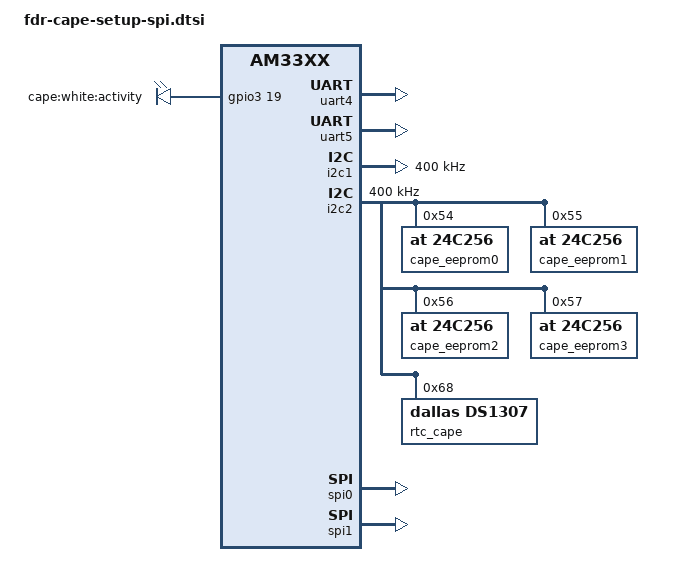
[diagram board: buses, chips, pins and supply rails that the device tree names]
#include "am33xx.dtsi"
#include "am335x-bone-common.dtsi"

&am33xx_pinmux {

		capeled_pins: pinmux_capeled_pins {
			pinctrl-single,pins = <
				0x1a4 0x7	/* gpio3_19 Cape led */
			>;
		};
		ctrl_pins: pinmux_ctrl_pins {
			pinctrl-single,pins = <
				0x3c  0xf	/* gpio1_15 Reset cards      | OUTPUT | NA | MODE7 */
				0x1ac 0xf	/* gpio3_21 Reset clock mcu  | OUTPUT | NA | MODE7 */
			>;
		};
		spi_cs_pins: pinmux_spi_cs_pins {
			pinctrl-single,pins = <
				0x48 0x17	/* gpio1_18 C0 | OUTPUT | PULLUP| MODE7 */
				0x4c 0x17	/* gpio1_19 C1 | OUTPUT | PULLUP| MODE7 */
				0x78 0x17	/* gpio1_28 C2 | OUTPUT | PULLUP| MODE7 */
			>;
		};
		timing_pins: pinmux_timing_pins {
			pinctrl-single,pins = <
				0x44 0x27	/* gpio1_17 sync in 100Hz   | INPUT  | PULLDOWN |   */
				0x40 0x3f	/* gpio1_16 1pps in         | INPUT  | EXT PULLUP | */
				0x34 0x7	/* gpio1_13 sync out 100 Hz | OUTPUT | PULLDOWN |   */
			>;
		};
		uart4_pins: pinmux_uart4_pins {
			pinctrl-single,pins = <
				0x070 0x26	/* gpmc_wait0.uart4_rxd | MODE6 */
				0x074 0x06	/* gpmc_wpn.uart4_txd | MODE6 */
			>;
		};
		uart5_pins: pinmux_uart5_pins {
			pinctrl-single,pins = <
				0x0C4 0x24	/* lcd_data9.uart5_rxd | MODE4 */
				0x0C0 0x04	/* lcd_data8.uart5_txd | MODE4 */
			>;
		};

		i2c1_pins: pinmux_i2c1_pins {
			pinctrl-single,pins = <
				0x180 0x73	/* uart1_rxd.i2c1_sda, SLEWCTRL_SLOW | INPUT_PULLUP | MODE3 */
				0x184 0x73	/* uart1_txd.i2c1_scl, SLEWCTRL_SLOW | INPUT_PULLUP | MODE3 */
			>;
		};
		
		i2c2_pins: pinmux_i2c2_pins {
			pinctrl-single,pins = <
				0x178 0x73 	/* uart1_ctsn.i2c2_sda, SLEWCTRL_SLOW | INPUT_PULLUP | MODE3 */
				0x17c 0x73	/* uart1_rtsn.i2c2_scl, SLEWCTRL_SLOW | INPUT_PULLUP | MODE3 */
			>;
		};
		
		spi0_pins: pinmux_spi0_pins {
			pinctrl-single,pins = <
				0x150 0x30	/* spi0_sclk.spi0_sclk, INPUT_PULLUP | MODE0 */
				0x154 0x30	/* spi0_d0.spi0_d0, INPUT_PULLUP | MODE0 */
				0x158 0x10	/* spi0_d1.spi0_d1, OUTPUT_PULLUP | MODE0 */
				0x15c 0x10	/* spi0_cs0.spi0_cs0, OUTPUT_PULLUP | MODE0 */
			>;
		};
		
		spi1_pins: pinmux_spi1_pins {
				pinctrl-single,pins = <
				0x190 0x33	/* spi1_sclk, INPUT_PULLUP | MODE3 */
				0x194 0x33	/* spi1_d0, INPUT_PULLUP | MODE3 */
				0x198 0x13	/* spi1_d1, OUTPUT_PULLUP | MODE3 */
				0x19c 0x13	/* spi1_cs0, OUTPUT_PULLUP | MODE3 */
			>;
		};
	};
		
&ocp {

		cape-leds {
			compatible = "gpio-leds";
			pinctrl-names = "default";
			pinctrl-0 = <&capeled_pins>;
			
			led0 {
				label = "cape:white:activity";
				gpios = <&gpio3 19 0>;	/* Why is the gpio here from 1 to 4? Not sense...*/
				default-state = "off";
				linux,default-trigger = "heartbeat";
			};
		};
		
		ctrl-pins {
			compatible = "bone-pinmux-helper";
			pinctrl-names = "default";
			pinctrl-0 = <&ctrl_pins>;
			status = "okay";
		};
		cs-sel-pins {
			compatible = "bone-pinmux-helper";
			pinctrl-names = "default";
			pinctrl-0 = <&spi_cs_pins>;
			status = "okay";
		};
		timing-pins {
			compatible = "bone-pinmux-helper";
			pinctrl-names = "default";
			pinctrl-0 = <&timing_pins>;
			status = "okay";
		};
};

&rtc {
	status = "disabled";
};

&uart4 {	/* really uart4 */
	status = "okay";
	pinctrl-names = "default";
	pinctrl-0 = <&uart4_pins>;
};

&uart5 {	/* really uart5 */
	status = "okay";
	pinctrl-names = "default";
	pinctrl-0 = <&uart5_pins>;
};



&i2c1 {
	status = "okay";
	pinctrl-names = "default";
	pinctrl-0 = <&i2c1_pins>;
	
	clock-frequency = <400000>;
	
};

&i2c2 {
	status = "okay";
	pinctrl-names = "default";
	pinctrl-0 = <&i2c2_pins>;

	clock-frequency = <400000>;

	cape_eeprom0: cape_eeprom0@54 {
		compatible = "at,24c256";
		reg = <0x54>;
	};

	cape_eeprom1: cape_eeprom1@55 {
		compatible = "at,24c256";
		reg = <0x55>;
	};

	cape_eeprom2: cape_eeprom2@56 {
		compatible = "at,24c256";
		reg = <0x56>;
	};

	cape_eeprom3: cape_eeprom3@57 {
		compatible = "at,24c256";
		reg = <0x57>;
	};
	
	rtc_cape: rtc@68 {
		compatible = "dallas,ds1307";
		reg = <0x68>;
	};
};

/* spi0 is numbered correctly */
&spi0 {	
	status = "okay";
	pinctrl-names = "default";
	pinctrl-0 = <&spi0_pins>;


	channel@0 {
		#address-cells = <1>;
		#size-cells = <0>;

		compatible = "spidev";

		reg = <0>;
		spi-max-frequency = <16000000>;
		spi-cpha;
	};


	channel@1 {
		#address-cells = <1>;
		#size-cells = <0>;

		compatible = "spidev";

		reg = <1>;
		spi-max-frequency = <16000000>;
	};
};

/* spi1 is numbered correctly */
&spi1 {	
	status = "okay";
	pinctrl-names = "default";
	pinctrl-0 = <&spi1_pins>;


	channel@0 {
		#address-cells = <1>;
		#size-cells = <0>;

		compatible = "spidev";

		reg = <0>;
		spi-max-frequency = <16000000>;
		spi-cpha;
	};


	channel@1 {
		#address-cells = <1>;
		#size-cells = <0>;

		compatible = "spidev";

		reg = <1>;
		spi-max-frequency = <16000000>;
	};
};
